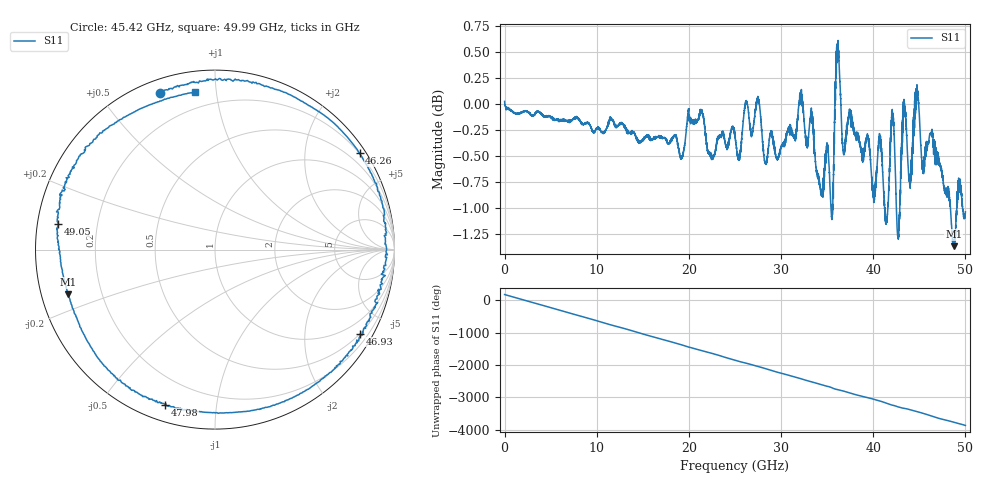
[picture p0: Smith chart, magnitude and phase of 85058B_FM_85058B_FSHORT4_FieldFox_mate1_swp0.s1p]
!Created with skrf (http://scikit-rf.org).
# Hz S RI R 50.0
!freq ReS11 ImS11
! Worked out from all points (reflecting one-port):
!   10000 points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, 5.3 MHz to 50 GHz, reference 50 ohm
!   lowest |S11| = -1.4 dB at 48.73 GHz (marker M1), VSWR 12.72, Z = 4.02 - j7.38 ohm
!   phase of S11 starts at 179 deg and turns -4044 deg over the sweep
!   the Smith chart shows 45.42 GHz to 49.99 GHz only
!   S11 on the Smith chart (normalised r, x): 45.42 GHz: 0.06, +0.71; 46.26 GHz: 0.19, +3.29; 46.93 GHz: 0.48, -3.67; 47.98 GHz: 0.07, -0.73; 49.05 GHz: 0.06, +0.08; 49.99 GHz: 0.11, +0.87
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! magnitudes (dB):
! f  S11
! 5.3 MHz  0.0
! 6.255 GHz  -0.2
! 12.51 GHz  -0.2
! 18.76 GHz  -0.4
! 25.01 GHz  -0.3
! 27.47 GHz  0.1
! 31.26 GHz  -0.3
! 32.18 GHz  0.1
! 35.47 GHz  -1.1
! 36.11 GHz  0.5
! 36.79 GHz  -0.5
! 37.51 GHz  -0.1
! 40.07 GHz  -0.9
! 40.75 GHz  -0.4
! 41.41 GHz  -1.2
! 42.07 GHz  -0.1
! 42.69 GHz  -1.3
! 43.32 GHz  0.0
! 43.76 GHz  -0.6
! 44.75 GHz  0.2
! 45.42 GHz  -0.7
! 46.26 GHz  -0.3
! 46.93 GHz  -0.6
! 47.98 GHz  -0.9
! 48.73 GHz  -1.4
! 49.05 GHz  -1.1
! 49.99 GHz  -1.1
! 50 GHz  -1.0
